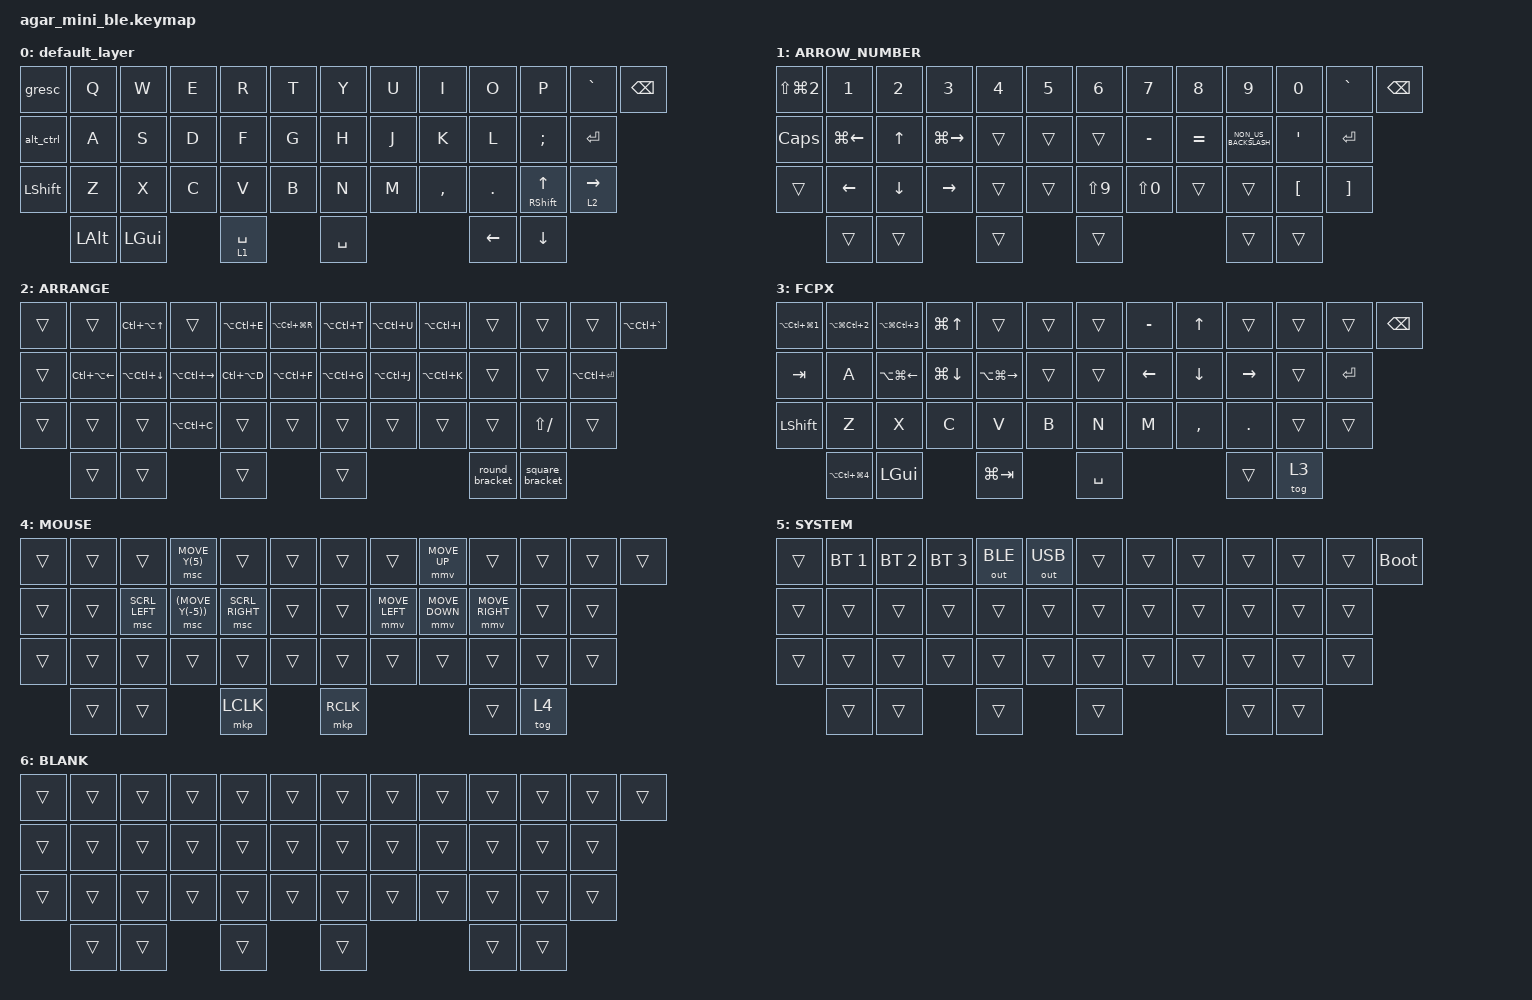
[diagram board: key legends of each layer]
/*
 * Copyright (c) 2021 The ZMK Contributors
 *
 * SPDX-License-Identifier: MIT
 */

#include "./boards/shields/klink_kbd/common.keymap"
#include <behaviors.dtsi>
#include <dt-bindings/zmk/bt.h>
#include <dt-bindings/zmk/keys.h>
#include <dt-bindings/zmk/outputs.h>
#include <dt-bindings/zmk/pointing.h>

/ {
    combos {
        compatible = "zmk,combos";

        Wakeup {
            bindings = <&wakeup>;
            key-positions = <41 42>;
            layers = <0>;
        };

        FCPX {
            bindings = <&tog 3>;
            key-positions = <4 15 28>;
            layers = <0>;
        };

        kakao {
            bindings = <&kakao>;
            key-positions = <10 21>;
            layers = <0>;
        };

        mousekey {
            bindings = <&tog 4>;
            key-positions = <21 32>;
        };

        discord_daily {
            bindings = <&discord_daily>;
            key-positions = <16 15 28>;
        };

        system_settings {
            bindings = <&mo 5>;
            key-positions = <39 40>;
        };

        period {
            bindings = <&kp SLASH>;
            key-positions = <34 33>;
        };

        quote {
            bindings = <&kp SQT>;
            key-positions = <22 21>;
        };

        sleep {
            bindings = <&sleep>;
            key-positions = <2 0 1>;
        };

        semi {
            bindings = <&kp SEMICOLON>;
            key-positions = <20 21>;
        };
    };

    macros {
        wakeup: wakeup {
            compatible = "zmk,behavior-macro";
            #binding-cells = <0>;
            bindings = <&kp N0>, <&macro_wait_time 50>, <&kp ENTER>;

            label = "wakeup";
        };

        kakao: kakao {
            compatible = "zmk,behavior-macro";
            #binding-cells = <0>;
            bindings =
                <&kp LS(R) &kp H &kp E &kp H &kp O &kp Z &kp K &kp Z &kp K &kp D &kp H &kp N3 &kp N2 &kp N4 &kp N1 &kp DLLR>,
                <&macro_wait_time 100>,
                <&kp ENTER>;

            label = "KAKAO";
        };

        discord_daily: discord_daily {
            compatible = "zmk,behavior-macro";
            #binding-cells = <0>;
            bindings = <&kp EXCLAMATION &kp C &kp N &kp F &kp C &kp P &kp R &kp ENTER>;
            label = "DISCORD_DAILY";
        };

        sleep: sleep {
            compatible = "zmk,behavior-macro";
            #binding-cells = <0>;
            bindings = <&kp LG(LC(Q))>, <&macro_wait_time 1000>, <&kp ESC>;

            label = "SLEEP";
        };
    };

    behaviors {
        HRL: homerow_layer_mods {
            compatible = "zmk,behavior-hold-tap";
            label = "HOMEROW_LAYER_MODS";
            bindings = <&mo>, <&kp>;

            #binding-cells = <2>;
            tapping-term-ms = <135>;
            flavor = "tap-preferred";
            retro-tap;
        };

        alt_ctrl: alt_ctrl {
            compatible = "zmk,behavior-mod-morph";
            label = "ALT_CTRL";
            bindings = <&mt LCTRL TAB>, <&kp LC(TAB)>;

            #binding-cells = <0>;
            mods = <(MOD_LALT)>;
        };

        round_bracket: round_bracket {
            compatible = "zmk,behavior-tap-dance";
            label = "ROUND_BRACKET";
            #binding-cells = <0>;
            bindings = <&kp LEFT_PARENTHESIS>, <&kp RIGHT_PARENTHESIS>;
        };

        square_bracket: square_bracket {
            compatible = "zmk,behavior-tap-dance";
            label = "SQUARE_BRACKET";
            #binding-cells = <0>;
            bindings = <&kp LEFT_BRACKET>, <&kp RIGHT_BRACKET>;
        };
    };

    keymap {
        compatible = "zmk,keymap";

        default_layer {
            bindings = <
&gresc     &kp Q         &kp W         &kp E  &kp R         &kp T  &kp Y      &kp U  &kp I      &kp O           &kp P                &kp GRAVE    &kp BSPC
&alt_ctrl  &kp A         &kp S         &kp D  &kp F         &kp G  &kp H      &kp J  &kp K      &kp L           &kp SEMI             &kp RET
&kp LSHFT  &kp Z         &kp X         &kp C  &kp V         &kp B  &kp N      &kp M  &kp COMMA  &kp DOT         &mt RSHIFT UP_ARROW  &lt 2 RIGHT
           &kp LEFT_ALT  &kp LEFT_GUI         &HRL 1 SPACE         &kp SPACE                    &kp LEFT_ARROW  &kp DOWN_ARROW
            >;
        };

        ARROW_NUMBER {
            bindings = <
&kp LS(LG(NUMBER_2))  &kp N1        &kp N2    &kp N3         &kp N4  &kp N5  &kp N6      &kp N7      &kp N8     &kp N9                &kp N0            &kp GRAVE          &kp BSPC
&kp CAPS              &kp LG(LEFT)  &kp UP    &kp LG(RIGHT)  &trans  &trans  &trans      &kp MINUS   &kp EQUAL  &kp NON_US_BACKSLASH  &kp SINGLE_QUOTE  &kp RET
&trans                &kp LEFT      &kp DOWN  &kp RIGHT      &trans  &trans  &kp LS(N9)  &kp LS(N0)  &trans     &trans                &kp LEFT_BRACKET  &kp RIGHT_BRACKET
                      &trans        &trans                   &trans          &trans                             &trans                &trans
            >;
        };

        ARRANGE {
            bindings = <
&trans  &trans            &kp LC(LA(UP_ARROW))  &trans             &kp LA(LC(E))  &kp LA(LC(LG(R)))  &kp LA(LC(T))  &kp LA(LC(U))  &kp LA(LC(I))  &trans          &trans           &trans             &kp LA(LC(GRAVE))
&trans  &kp LC(LA(LEFT))  &kp LA(LC(DOWN))      &kp LA(LC(RIGHT))  &kp LC(LA(D))  &kp LA(LC(F))      &kp LA(LC(G))  &kp LA(LC(J))  &kp LA(LC(K))  &trans          &trans           &kp LA(LC(ENTER))
&trans  &trans            &trans                &kp LA(LC(C))      &trans         &trans             &trans         &trans         &trans         &trans          &kp LS(SLASH)    &trans
        &trans            &trans                                   &trans                            &trans                                       &round_bracket  &square_bracket
            >;
        };

        FCPX {
            bindings = <
&kp LA(LC(LG(NUMBER_1)))  &kp LA(LG(LC(NUMBER_2)))  &kp LA(LG(LC(NUMBER_3)))  &kp LG(UP_ARROW)  &trans             &trans  &trans     &kp MINUS  &kp UP     &trans     &trans  &trans   &kp BACKSPACE
&kp TAB                   &kp A                     &kp LA(LG(LEFT))          &kp LG(DOWN)      &kp LA(LG(RIGHT))  &trans  &trans     &kp LEFT   &kp DOWN   &kp RIGHT  &trans  &kp RET
&kp LSHFT                 &kp Z                     &kp X                     &kp C             &kp V              &kp B   &kp N      &kp M      &kp COMMA  &kp DOT    &trans  &trans
                          &kp LA(LC(LG(NUMBER_4)))  &kp LGUI                                    &kp LG(TAB)                &kp SPACE                        &trans     &tog 3
            >;
        };

        MOUSE {
            bindings = <
&trans  &trans  &trans          &msc MOVE_Y(5)     &trans           &trans  &trans     &trans          &mmv MOVE_UP    &trans           &trans  &trans  &trans
&trans  &trans  &msc SCRL_LEFT  &msc (MOVE_Y(-5))  &msc SCRL_RIGHT  &trans  &trans     &mmv MOVE_LEFT  &mmv MOVE_DOWN  &mmv MOVE_RIGHT  &trans  &trans
&trans  &trans  &trans          &trans             &trans           &trans  &trans     &trans          &trans          &trans           &trans  &trans
        &trans  &trans                             &mkp LCLK                &mkp RCLK                                  &trans           &tog 4
            >;
        };

        SYSTEM {
            bindings = <
&trans  &bt BT_SEL 1  &bt BT_SEL 2  &bt BT_SEL 3  &out OUT_BLE  &out OUT_USB  &trans  &trans  &trans  &trans  &trans  &trans  &bootloader
&trans  &trans        &trans        &trans        &trans        &trans        &trans  &trans  &trans  &trans  &trans  &trans
&trans  &trans        &trans        &trans        &trans        &trans        &trans  &trans  &trans  &trans  &trans  &trans
        &trans        &trans                      &trans                      &trans                  &trans  &trans
            >;
        };

        BLANK {
            bindings = <
&trans  &trans  &trans  &trans  &trans  &trans  &trans  &trans  &trans  &trans  &trans  &trans  &trans
&trans  &trans  &trans  &trans  &trans  &trans  &trans  &trans  &trans  &trans  &trans  &trans
&trans  &trans  &trans  &trans  &trans  &trans  &trans  &trans  &trans  &trans  &trans  &trans
        &trans  &trans          &trans          &trans                  &trans  &trans
            >;
        };
    };
};
